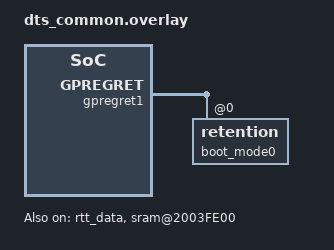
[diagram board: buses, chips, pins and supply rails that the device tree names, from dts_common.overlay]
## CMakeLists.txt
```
# @copyright Ruuvi Innovations Ltd.
# SPDX-License-Identifier: BSD-3-Clause

cmake_minimum_required(VERSION 3.20.0)

list(APPEND ZEPHYR_EXTRA_MODULES ${CMAKE_CURRENT_SOURCE_DIR}/../drivers)

find_package(Zephyr REQUIRED HINTS $ENV{ZEPHYR_BASE})
project(ruuvi.fw_loader)

# Find the directory containing <module_name>.cmake by walking up:
#   <this>/cmake/modules → parent/cmake/modules → grandparent/cmake/modules
#
# Usage:
#   find_module_dir_upwards(OUT_VAR git_describe_tag [REQUIRED] [SUBDIR "cmake/modules"])
#
# Notes:
# - module_name may be given with or without the .cmake suffix
# - If REQUIRED is passed and not found → FATAL_ERROR
# - On success, OUT_VAR is set to the *directory* path (normalized)
# - On failure (without REQUIRED), OUT_VAR is set to an empty string
function(find_module_dir_upwards OUT_VAR MODULE_NAME)
  set(options REQUIRED)
  set(oneValueArgs SUBDIR)
  cmake_parse_arguments(FMDU "${options}" "${oneValueArgs}" "" ${ARGN})

  if(MODULE_NAME MATCHES "\\.cmake$")
    set(_module_file "${MODULE_NAME}")
  else()
    set(_module_file "${MODULE_NAME}.cmake")
  endif()

  if(NOT FMDU_SUBDIR)
    set(FMDU_SUBDIR "cmake/modules")
  endif()

  # Build candidate search dirs: current → parent → grandparent
  set(_dirs)
  list(APPEND _dirs "${CMAKE_CURRENT_LIST_DIR}/${FMDU_SUBDIR}")

  get_filename_component(_p1 "${CMAKE_CURRENT_LIST_DIR}" DIRECTORY)
  list(APPEND _dirs "${_p1}/${FMDU_SUBDIR}")

  get_filename_component(_p2 "${_p1}" DIRECTORY)
  list(APPEND _dirs "${_p2}/${FMDU_SUBDIR}")

  # Find the directory containing the module file
  find_path(_hit_dir
    NAMES "${_module_file}"
    HINTS ${_dirs}
    NO_DEFAULT_PATH
  )

  if(NOT _hit_dir)
    if(FMDU_REQUIRED)
      message(FATAL_ERROR
        "Could not find '${_module_file}'. Searched:\n  ${_dirs}")
    endif()
    set(${OUT_VAR} "" PARENT_SCOPE)
    return()
  endif()

  # Normalize and return
  get_filename_component(_norm "${_hit_dir}" REALPATH)
  set(${OUT_VAR} "${_norm}" PARENT_SCOPE)
endfunction()

find_module_dir_upwards(MOD_DIR git_describe_tag.cmake REQUIRED SUBDIR "cmake/modules")

set_property(TARGET app_version_h PROPERTY APP_VERSION_CUSTOMIZATION
    "//#include;\\\"fwloader_version_extra.h\\\";"
)

include("${MOD_DIR}/git_describe_tag.cmake")

SET(TAG_PREFIX "fwloader_v")
SET(TAG_WORK_DIR "${CMAKE_CURRENT_SOURCE_DIR}/..")

set(GENERATED_VERSION "${CMAKE_CURRENT_SOURCE_DIR}/VERSION")

set(VH ${PROJECT_BINARY_DIR}/zephyr/include/generated/zephyr/app_version.h)
set(MYVH ${PROJECT_BINARY_DIR}/zephyr/include/generated/zephyr/app_version.override.h)

git_describe_tag(${TAG_WORK_DIR} ${TAG_PREFIX} FWLOADER_BUILD_VERSION)

add_custom_command(
  OUTPUT ${MYVH}
  COMMAND ${CMAKE_COMMAND} -DZEPHYR_BASE=${ZEPHYR_BASE}
    -DOUT_FILE=${MYVH}
    -DVERSION_TYPE=APP
    -DVERSION_FILE=${GENERATED_VERSION}
    -DAPP_VERSION_CUSTOMIZATION="$<TARGET_PROPERTY:app_version_h,APP_VERSION_CUSTOMIZATION>"
    -DAPP_BUILD_VERSION=${FWLOADER_BUILD_VERSION}
    -DCMAKE_MODULE_PATH=${MOD_DIR}
    -P ${ZEPHYR_BASE}/cmake/gen_version_h.cmake
  DEPENDS ${GENERATED_VERSION} ${git_dependency}
  COMMAND_EXPAND_LISTS
)

# stamp so we don't collide with Zephyr's rule that already outputs ${VH}
add_custom_command(
  OUTPUT ${MYVH}.stamp
  COMMAND ${CMAKE_COMMAND} -E copy ${MYVH} ${VH}
  COMMAND ${CMAKE_COMMAND} -E touch ${MYVH}.stamp
  DEPENDS version_h ${MYVH}             # ensure the default header exists first
)

add_custom_target(override_version_h ALL
  DEPENDS ${MYVH}.stamp)

# Make sure all generated headers wait for our override too
add_dependencies(zephyr_generated_headers override_version_h)
# Make the Zephyr 'app' target depend on the VERSION file and generted header
add_dependencies(app override_version_h)


target_sources(app PRIVATE
        src/fwloader_bluetooth.c
        src/fwloader_bluetooth.h
        src/fwloader_early_init.c
        src/fwloader_err_handler.c
        src/fwloader_ext_flash_power.c
        src/fwloader_ext_flash_power.h
        src/fwloader_fw_ver.c
        src/fwloader_fw_ver.h
        src/fwloader_button.c
        src/fwloader_button.h
        src/fwloader_button_cb.c
        src/fwloader_gpio_input.c
        src/fwloader_gpio_input.h
        src/fwloader_led.c
        src/fwloader_led.h
        src/fwloader_led_err.c
        src/fwloader_led_err.h
        src/fwloader_mcumgr_mgmt_callbacks.c
        src/fwloader_mcumgr_mgmt_callbacks.h
        src/fwloader_rgb_led.c
        src/fwloader_rgb_led.h
        src/fwloader_segger_rtt.c
        src/fwloader_segger_rtt.h
        src/fwloader_settings.c
        src/fwloader_settings.h
        src/fwloader_supercap.c
        src/fwloader_supercap.h
        src/fwloader_watchdog.c
        src/fwloader_watchdog.h
        src/fw_img_hw_rev.c
        src/fw_img_hw_rev.h
        src/shell_cmd_ruuvi.c
        src/main.c
)

target_include_directories(app PRIVATE
    ../include
    ../drivers/lp5810/include
    ${ZEPHYR_BASE}/kernel/include
    ${ARCH_DIR}/${ARCH}/include
)

target_link_options(app INTERFACE
        "-Wl,--wrap=sys_reboot"
)
```

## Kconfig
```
# Copyright (c) 2024, Ruuvi Innovations Ltd
# SPDX-License-Identifier: BSD-3-Clause

source "Kconfig" # Include Zephyr's main Kconfig
rsource "../drivers/Kconfig"

config RUUVI_AIR_BUTTON_DELAY_BEFORE_REBOOT
	int "Delay in ms before reboot after pressing the pinhole button"
	default 5000
	help
	  Delay in ms before reboot after pressing the pinhole button.

config RUUVI_AIR_FW_LOADER_UPLOADING_TIMEOUT_SEC
	int "Timeout in seconds for mcumgr upload activity"
	default 180
	help
	  Timeout in seconds for mcumgr upload activity.

choice RUUVI_AIR_PINHOLE_LED
    prompt "Configure pinhole Red/Green LEDs mode"
    default RUUVI_AIR_PINHOLE_LED_PWM
    help
      Select pinhole LED mode for Ruuvi Air.

config RUUVI_AIR_PINHOLE_LED_GPIO
	bool "Use GPIO to control pinhole Red/Green LEDs"

config RUUVI_AIR_PINHOLE_LED_PWM
	bool "Use PWM to control pinhole Red/Green LEDs"

config RUUVI_AIR_PINHOLE_LED_NONE
	bool "Don't use pinhole Red/Green LEDs"

endchoice  # RUUVI_AIR_PINHOLE_LED

config RUUVI_AIR_PINHOLE_LED_PWM_PERIOD_NS
	int "Pinhole LED PWM period (ns)"
	default 20000
	depends on RUUVI_AIR_PINHOLE_LED_PWM
	help
	  PWM period for the bottom LED in nanoseconds.

config RUUVI_AIR_PINHOLE_LED_PWM_PULSE_WIDTH_NS
	int "Pinhole LED PWM pulse width (ns)"
	default 1000
	depends on RUUVI_AIR_PINHOLE_LED_PWM
	help
	  PWM pulse width for the bottom LED in nanoseconds.
```

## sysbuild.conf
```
SB_CONFIG_BOOTLOADER_MCUBOOT=y
SB_CONFIG_BOOT_SIGNATURE_TYPE_ECDSA_P256=y
SB_CONFIG_SECURE_BOOT_APPCORE=y

SB_CONFIG_MCUBOOT_MODE_FIRMWARE_UPDATER=y
```

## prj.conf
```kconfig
#
# @copyright Ruuvi Innovations Ltd
#
# SPDX-License-Identifier: BSD-3-Clause
#

CONFIG_KERNEL_BIN_NAME="ruuvi_air_fw_loader"

# Enable MCUmgr and dependencies.
CONFIG_NET_BUF=y
CONFIG_ZCBOR=y
CONFIG_CRC=y
CONFIG_MCUMGR=y
CONFIG_STREAM_FLASH=y

CONFIG_GPIO=y
CONFIG_PWM=y
CONFIG_I2C=y
CONFIG_LED=y
CONFIG_LP5810=y
CONFIG_LP5810_EXPONENTIAL_PWM=y

CONFIG_WATCHDOG=y
CONFIG_HWINFO=y
CONFIG_SETTINGS=y
CONFIG_SETTINGS_RUNTIME=y

CONFIG_FLASH=y
CONFIG_FLASH_MAP=y

# Enable the LittleFS file system.
CONFIG_FILE_SYSTEM=y
CONFIG_FILE_SYSTEM_LITTLEFS=y
CONFIG_FILE_SYSTEM_MKFS=y

# Some command handlers require a large stack.
CONFIG_SYSTEM_WORKQUEUE_STACK_SIZE=4096
CONFIG_BT_RX_STACK_SIZE=4096
CONFIG_MAIN_STACK_SIZE=4096
CONFIG_MPSL_WORK_STACK_SIZE=2048

# Ensure an MCUboot-compatible binary is generated.
CONFIG_BOOTLOADER_MCUBOOT=y
CONFIG_SECURE_BOOT=y

# Required by the `taskstat` command.
CONFIG_THREAD_MONITOR=n

# Enable the Shell mcumgr transport.
CONFIG_BASE64=y
CONFIG_CRC=y
CONFIG_SHELL=y
CONFIG_SHELL_BACKEND_SERIAL=n
CONFIG_MCUMGR_TRANSPORT_SHELL=y  # Enable MCUmgr shell command handler
CONFIG_SHELL_BACKEND_DUMMY=y     # Use dummy backend to capture shell output
CONFIG_MCUMGR_GRP_SHELL=y

# Support for taskstat command
CONFIG_MCUMGR_GRP_OS_TASKSTAT=n

# Enable statistics and statistic names.
CONFIG_STATS=n
CONFIG_STATS_NAMES=n

# Enable most core commands.
CONFIG_IMG_MANAGER=n
CONFIG_MCUMGR_GRP_IMG=y
CONFIG_MCUMGR_GRP_OS=y
CONFIG_STATS=y
CONFIG_MCUMGR_GRP_STAT=y

CONFIG_BT=y
CONFIG_BT_BROADCASTER=y
CONFIG_BT_DEVICE_NAME="RuuviAir"
CONFIG_BT_PERIPHERAL=y

CONFIG_BT_DIS=y
CONFIG_BT_DIS_STR_MAX=24
CONFIG_BT_DIS_SETTINGS=y
CONFIG_BT_DIS_MODEL="Ruuvi Air"
CONFIG_BT_DIS_MANUF="Ruuvi Innovations Ltd"
CONFIG_BT_DIS_PNP=n
CONFIG_BT_DIS_SERIAL_NUMBER=y
CONFIG_BT_DIS_SERIAL_NUMBER_STR="XX:XX:XX:XX:XX:XX:XX:XX"
CONFIG_BT_DIS_FW_REV=y
CONFIG_BT_DIS_HW_REV=y
CONFIG_BT_DIS_HW_REV_STR="Check PCB"

# Allow for large Bluetooth data packets.
CONFIG_BT_L2CAP_TX_MTU=498
CONFIG_BT_BUF_ACL_RX_SIZE=502
CONFIG_BT_BUF_ACL_TX_SIZE=502
CONFIG_BT_CTLR_DATA_LENGTH_MAX=251

# Enable the Bluetooth mcumgr transport (unauthenticated).
CONFIG_MCUMGR_TRANSPORT_BT=y
CONFIG_MCUMGR_TRANSPORT_BT_CONN_PARAM_CONTROL=y

# Enable the mcumgr Packet Reassembly feature over Bluetooth and its configuration dependencies.
# MCUmgr buffer size is optimized to fit one SMP packet divided into five Bluetooth Write Commands,
# transmitted with the maximum possible MTU value: 498 bytes.
CONFIG_MCUMGR_TRANSPORT_BT_REASSEMBLY=y
CONFIG_MCUMGR_TRANSPORT_NETBUF_SIZE=2475
CONFIG_MCUMGR_GRP_OS_MCUMGR_PARAMS=y
CONFIG_MCUMGR_TRANSPORT_WORKQUEUE_STACK_SIZE=6144

# Enable core commands.
CONFIG_MCUMGR_MGMT_NOTIFICATION_HOOKS=y
CONFIG_MCUMGR_GRP_OS=y
CONFIG_MCUMGR_GRP_OS_MCUMGR_PARAMS=y
CONFIG_MCUMGR_GRP_OS_BOOTLOADER_INFO=y
CONFIG_MCUMGR_GRP_OS_BOOTLOADER_INFO_HOOK=y
CONFIG_MCUMGR_GRP_OS_INFO=y
CONFIG_MCUMGR_GRP_OS_INFO_CUSTOM_HOOKS=y
# CONFIG_MCUMGR_GRP_OS_DATETIME=y
# CONFIG_MCUMGR_GRP_OS_DATETIME_MS=y
# CONFIG_MCUMGR_GRP_OS_DATETIME_HOOK=y
CONFIG_MCUMGR_GRP_OS_INFO_BUILD_DATE_TIME=n
CONFIG_MCUMGR_GRP_FS=y
CONFIG_MCUMGR_GRP_FS_FILE_ACCESS_HOOK=y
CONFIG_MCUMGR_SMP_COMMAND_STATUS_HOOKS=y

# Enable the storage erase command.
CONFIG_MCUMGR_GRP_ZBASIC=y
CONFIG_MCUMGR_GRP_ZBASIC_STORAGE_ERASE=y

CONFIG_RETAINED_MEM=y
CONFIG_RETENTION=y
CONFIG_RETENTION_BOOT_MODE=y
CONFIG_RETENTION_BOOTLOADER_INFO=y
CONFIG_RETENTION_BOOTLOADER_INFO_TYPE_MCUBOOT=y
CONFIG_RETENTION_BOOTLOADER_INFO_OUTPUT_SETTINGS=y

CONFIG_MCUBOOT_IMG_MANAGER=y
CONFIG_MCUBOOT_SHELL=y

# Disable Bluetooth ping support
CONFIG_BT_CTLR_LE_PING=n

# Disable shell commands that are not needed
CONFIG_CLOCK_CONTROL_NRF_SHELL=n
CONFIG_DEVICE_SHELL=n
CONFIG_DEVMEM_SHELL=n
CONFIG_FLASH_SHELL=n

# Enable logging
CONFIG_LOG=y
CONFIG_MCUBOOT_UTIL_LOG_LEVEL_INF=y
CONFIG_MCUMGR_GRP_IMG_LOG_LEVEL_INF=y
CONFIG_LOG_MAX_LEVEL=3
CONFIG_LOG_DEFAULT_LEVEL=3

CONFIG_LOG_MODE_DEFERRED=n
CONFIG_LOG_MODE_MINIMAL=n
CONFIG_LOG_MODE_IMMEDIATE=y
CONFIG_LOG_PROCESS_THREAD=n
CONFIG_LOG_BLOCK_IN_THREAD=n
CONFIG_LOG_PRINTK=y
CONFIG_PRINTK_SYNC=y
CONFIG_LOG_FUNC_NAME_PREFIX_ERR=y
CONFIG_LOG_FUNC_NAME_PREFIX_WRN=n
CONFIG_LOG_FUNC_NAME_PREFIX_INF=n
CONFIG_LOG_FUNC_NAME_PREFIX_DBG=y
CONFIG_LOG_BACKEND_SHOW_COLOR=y

# --- Enable UART ---
CONFIG_SERIAL=y           # Ensure Serial driver support is enabled (usually default)
CONFIG_UART_CONSOLE=y     # Enable UART as a potential console (usually default)
CONFIG_LOG_BACKEND_UART=y # Enable UART as a logging backend

# --- Enable RTT ---
CONFIG_USE_SEGGER_RTT=y
CONFIG_RTT_CONSOLE=y      # Enable RTT as a potential console
CONFIG_LOG_BACKEND_RTT=y  # Enable RTT as a logging backend

# Configure Segger RTT UpBuffer, with 184 additional bytes for other RTT data, in total it's 4096
CONFIG_SEGGER_RTT_BUFFER_SIZE_UP=3912
CONFIG_SEGGER_RTT_SECTION_CUSTOM=y
CONFIG_SEGGER_RTT_SECTION_CUSTOM_NAME="rtt_data"

CONFIG_EXCEPTION_DEBUG=n
CONFIG_EXTRA_EXCEPTION_INFO=n
CONFIG_FAULT_DUMP=2

CONFIG_ASSERT_VERBOSE=n
CONFIG_ASSERT_NO_FILE_INFO=n

#CONFIG_DEBUG=y
#CONFIG_DEBUG_INFO=y
#CONFIG_DEBUG_THREAD_INFO=y
#CONFIG_NO_OPTIMIZATIONS=y
#CONFIG_DEBUG_OPTIMIZATIONS=y
CONFIG_SIZE_OPTIMIZATIONS=y

CONFIG_REBOOT=y
CONFIG_POWEROFF=y


CONFIG_LINKER_ORPHAN_SECTION_WARN=y
CONFIG_LINKER_SORT_BY_ALIGNMENT=y
CONFIG_ASSERT=n

CONFIG_SYSTEM_WORKQUEUE_STACK_SIZE=4096
CONFIG_BT_RX_STACK_SIZE=4096
CONFIG_MAIN_STACK_SIZE=3072
CONFIG_MPSL_WORK_STACK_SIZE=3072
CONFIG_MCUMGR_TRANSPORT_WORKQUEUE_STACK_SIZE=6144

CONFIG_PM_EXTERNAL_FLASH_MCUBOOT_SECONDARY=y

CONFIG_FPROTECT=y
# CONFIG_FPROTECT_APP=y

CONFIG_UPDATEABLE_IMAGE_NUMBER=2
CONFIG_MCUMGR_GRP_IMG_UPDATABLE_IMAGE_NUMBER=2

CONFIG_IMG_ENABLE_IMAGE_CHECK=y
CONFIG_IMG_ERASE_PROGRESSIVELY=y

CONFIG_GPIO_INIT_PRIORITY=40
CONFIG_NORDIC_QSPI_NOR_INIT_PRIORITY=45

CONFIG_NCS_APPLICATION_BOOT_BANNER_STRING="RuuviAir FwLoader"

CONFIG_FW_INFO=y

CONFIG_RUUVI_AIR_PINHOLE_LED_PWM=y
CONFIG_RUUVI_AIR_PINHOLE_LED_PWM_PERIOD_NS=20000
CONFIG_RUUVI_AIR_PINHOLE_LED_PWM_PULSE_WIDTH_NS=1000
```

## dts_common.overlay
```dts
/**
 * @copyright Ruuvi Innovations Ltd, license BSD-3-Clause.
 */

#include <zephyr/dt-bindings/led/led.h>

/* Path to lp5810.h must be relative to
   "ruuvi.air/dts" or
   "ruuvi.air/boards/nordic/nrf52840dk_ruuviair/dts".
*/
#include <../../../../drivers/lp5810/include/lp5810.h>

&gpregret1 {
	status = "okay";

	boot_mode0: boot_mode@0 {
		compatible = "zephyr,retention";
		status = "okay";
		reg = <0x0 0x1>;
	};
};

/ {
        /* Memory for Segger RTT buffers, must be the same for B0, MCUBoot, fw_loader and the main app */
	rtt_data: sram@20000000 {                         /* Label this node as 'shared_sram' */
		compatible = "zephyr,memory-region", "mmio-sram";
		reg = <0x20000000 DT_SIZE_K(4)>;                    /* Size 4 KiB */
		zephyr,memory-region = "rtt_data";                  /* Create a linker region named "rtt_data" */
		status = "okay";
	};
};

/ {
	sram@2003FE00 {
		compatible = "zephyr,memory-region", "mmio-sram";
		reg = <0x2003FE00 0x200>;
		zephyr,memory-region = "RetainedMem";
		status = "okay";

		retainedmem {
			compatible = "zephyr,retained-ram";
			status = "okay";
			#address-cells = <1>;
			#size-cells = <1>;

			boot_info0: boot_info@0 {
				compatible = "zephyr,retention";
				status = "okay";
				reg = <0x0 0x200>;
				prefix = [08 04];
				checksum = <1>;
			};
		};
	};

	chosen {
		zephyr,boot-mode = &boot_mode0;
		zephyr,bootloader-info = &boot_info0;
	};
};

/* Reduce SRAM0 usage by 0x200 bytes to account for non-init area */

&sram0 {
	reg = <0x20000000 0x3FE00>;
};

&i2c0 {
	DPS310@77 {
		status = "disabled";
	};

	OPT4060@44 {
		status = "disabled";
	};
};
```

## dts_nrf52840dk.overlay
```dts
/ {
	gpio_enable_sensors: gpio_enable_sensors {
		compatible = "power-switch";
		status = "okay";
		gpios = <&gpio0 11 (GPIO_ACTIVE_HIGH | GPIO_PULL_DOWN)>;
	};
};

/ {
	chosen {
			nordic,pm-ext-flash = &mx25r64;
	};
};

/ {
    aliases {
        button-pinhole = &button0;
        gpio-supercap-active = &button1;
        led-green = &led0;
        led-red = &led1;
    };
};
```

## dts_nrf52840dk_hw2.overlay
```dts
/**
 * @copyright Ruuvi Innovations Ltd, license BSD-3-Clause.
 */

&i2c0 {
	status = "okay";
	clock-frequency = <I2C_BITRATE_STANDARD>;

	rtc_pcf85263a: pcf85263a@51 {
		status = "disabled";
	};
};
```

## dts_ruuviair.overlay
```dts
/ {
	chosen {
			nordic,pm-ext-flash = &w25q128jv;
	};
};
```

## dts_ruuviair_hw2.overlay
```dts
/**
 * @copyright Ruuvi Innovations Ltd, license BSD-3-Clause.
 */

&i2c0 {
	status = "okay";
	clock-frequency = <I2C_BITRATE_STANDARD>;
	pcf85263a@51 {
		status = "disabled";
	};
};
```

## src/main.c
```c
/*
 * Copyright (c) 2012-2014 Wind River Systems, Inc.
 * Copyright (c) 2020 Prevas A/S
 *
 * SPDX-License-Identifier: Apache-2.0
 */

#include <zephyr/kernel.h>
#include <zephyr/device.h>
#include <zephyr/sys/reboot.h>
#include <zephyr/stats/stats.h>
#include <zephyr/usb/usb_device.h>
#include <zephyr/sys/__assert.h>

#ifdef CONFIG_MCUMGR_GRP_FS
#include <zephyr/fs/fs.h>
#include <zephyr/fs/littlefs.h>
#endif
#ifdef CONFIG_MCUMGR_GRP_STAT
#include <zephyr/mgmt/mcumgr/grp/stat_mgmt/stat_mgmt.h>
#endif
#include "fwloader_segger_rtt.h"
#include "fwloader_button_cb.h"
#include "fwloader_button.h"
#include "fwloader_led.h"
#include "fwloader_bluetooth.h"
#include "fwloader_watchdog.h"
#include "fwloader_mcumgr_mgmt_callbacks.h"
#include "fwloader_settings.h"
#include "fwloader_fw_ver.h"
#include "fwloader_rgb_led.h"
#include "ruuvi_fw_update.h"
#include "zephyr_api.h"

LOG_MODULE_REGISTER(fw_loader, LOG_LEVEL_INF);

#if !defined(CONFIG_DEBUG)
#define CONFIG_DEBUG 0
#endif

#define STORAGE_PARTITION_LABEL storage_partition
#define STORAGE_PARTITION_ID    FIXED_PARTITION_ID(STORAGE_PARTITION_LABEL)

#define HIST_LOG_PARTITION_LABEL hist_storage
#define HIST_LOG_PARTITION_SIZE  PM_HIST_STORAGE_SIZE

#define HIST_LOG_FLASH_AREA_ID FLASH_AREA_ID(HIST_LOG_PARTITION_LABEL)

#define FWLOADER_RGB_LED_CURRENT_RED   (FWLOADER_RGB_LED_CURRENT_MIN)
#define FWLOADER_RGB_LED_CURRENT_GREEN (FWLOADER_RGB_LED_CURRENT_MIN)
#define FWLOADER_RGB_LED_CURRENT_BLUE  (128U)

#define FWLOADER_RGB_LED_PWM_RED   (FWLOADER_RGB_LED_PWM_MIN)
#define FWLOADER_RGB_LED_PWM_GREEN (FWLOADER_RGB_LED_PWM_MIN)
#define FWLOADER_RGB_LED_PWM_BLUE  (FWLOADER_RGB_LED_PWM_MAX)

#define FWLOADER_RGB_LED_BLINK_INTERVAL_MS (1000)
#define FWLOADER_RGB_LED_BLINK_DURATION_MS (50)

#define FWLOADER_RGB_ANIMATION_BLINKING_WHITE_CURRENT_RED   (115U)
#define FWLOADER_RGB_ANIMATION_BLINKING_WHITE_CURRENT_GREEN (36U)
#define FWLOADER_RGB_ANIMATION_BLINKING_WHITE_CURRENT_BLUE  (53U)

static bool    g_flag_reboot_requested = false;
static k_tid_t g_main_thread_id;

/* Define an example stats group; approximates seconds since boot. */
STATS_SECT_START(smp_svr_stats)
STATS_SECT_ENTRY(ticks)
STATS_SECT_END;

/* Assign a name to the `ticks` stat. */
STATS_NAME_START(smp_svr_stats)
STATS_NAME(smp_svr_stats, ticks)
STATS_NAME_END(smp_svr_stats);

/* Define an instance of the stats group. */
STATS_SECT_DECL(smp_svr_stats) smp_svr_stats;

#ifdef CONFIG_MCUMGR_GRP_FS
FS_LITTLEFS_DECLARE_DEFAULT_CONFIG(storage);
static struct fs_mount_t btldr_fs_storage_mnt = {
    .type        = FS_LITTLEFS,
    .fs_data     = &storage,
    .storage_dev = (void*)FIXED_PARTITION_ID(littlefs_storage1),
    .mnt_point   = RUUVI_FW_UPDATE_MOUNT_POINT,
};

static struct fs_mount_t* const g_mountpoint = &btldr_fs_storage_mnt;
#endif

#ifdef CONFIG_MCUMGR_GRP_FS
static bool
btldr_fs_mount(void)
{
    zephyr_api_ret_t rc = fs_mkfs(FS_LITTLEFS, FIXED_PARTITION_ID(littlefs_storage1), NULL, 0);
    if (0 != rc)
    {
        LOG_ERR("FAIL: mkfs fa_id %d: res=%d", FIXED_PARTITION_ID(littlefs_storage1), rc);
        return false;
    }

    rc = fs_mount(g_mountpoint);
    if (0 != rc)
    {
        LOG_ERR(
            "FAIL: mount id %" PRIuPTR " at %s: %d",
            (uintptr_t)g_mountpoint->storage_dev,
            g_mountpoint->mnt_point,
            rc);
        return false;
    }
    LOG_INF("%s mounted successfully", g_mountpoint->mnt_point);

    struct fs_statvfs sbuf = { 0 };
    rc                     = fs_statvfs(g_mountpoint->mnt_point, &sbuf);
    if (rc < 0)
    {
        LOG_ERR("FAIL: statvfs: %d", rc);
        return false;
    }
    LOG_INF(
        "%s: bsize = %lu ; frsize = %lu ; blocks = %lu ; bfree = %lu",
        g_mountpoint->mnt_point,
        sbuf.f_bsize,
        sbuf.f_frsize,
        sbuf.f_blocks,
        sbuf.f_bfree);
    return true;
}
#endif

static bool
app_fs_is_file_exist(const char* const p_abs_path)
{
    static struct fs_dirent g_fs_dir_entry;
    const int32_t           rc = fs_stat(p_abs_path, &g_fs_dir_entry);
    if (-ENOENT == rc)
    {
        return false;
    }
    if (0 != rc)
    {
        return false;
    }
    if (FS_DIR_ENTRY_FILE != g_fs_dir_entry.type)
    {
        return false;
    }
    return true;
}

/**
 * Declare the symbol pointing to the former implementation of sys_reboot function
 */
extern void
__real_sys_reboot(int type); // NOSONAR

int
main(void)
{
    g_main_thread_id = k_current_get();

    fwloader_fw_ver_init();

    fwloader_segger_rtt_check_data_location_and_size();

    fwloader_led_late_init_pwm();

    if (!fwloader_settings_init())
    {
        LOG_ERR("fwloader_settings_init failed");
    }

#ifdef CONFIG_MCUMGR_GRP_FS
    btldr_fs_mount();
#endif

    if (!fwloader_watchdog_start())
    {
        LOG_ERR("Failed to initialize watchdog");
    }

    zephyr_api_ret_t rc = STATS_INIT_AND_REG(smp_svr_stats, STATS_SIZE_32, "smp_svr_stats");
    if (rc < 0)
    {
        LOG_ERR("Error initializing stats system [%d]", rc);
    }

    /* Register the built-in mcumgr command handlers. */
#ifdef CONFIG_MCUMGR_TRANSPORT_BT
    LOG_INF("fw_loader: start_smp_bluetooth_adverts");
    start_smp_bluetooth_adverts();
#endif
    fwloader_mcumgr_mgmt_callbacks_init(btldr_fs_storage_mnt.mnt_point);

    fwloader_led_lock();
    if (!fwloader_button_is_pressed())
    {
        fwloader_led_red_on();
    }
    fwloader_led_unlock();

    /* The system work queue handles all incoming mcumgr requests.  Let the
     * main thread idle while the mcumgr server runs.
     */
    uint32_t uploading_timeout_cnt = 0;
    while (!g_flag_reboot_requested)
    {
        if (!fwloader_button_is_pressed())
        {
            fwloader_watchdog_feed();
        }

        if (fwloader_bt_is_connected())
        {
            if (fwloader_mcumgr_mgmt_callbacks_is_uploading_in_progress())
            {
                uploading_timeout_cnt = 0;
            }
            else
            {
                uploading_timeout_cnt += 1;
            }
            LOG_INF("Uploading is in progress, timeout cnt: %d", uploading_timeout_cnt);
        }
        else
        {
            uploading_timeout_cnt += 1;
            LOG_INF("Uploading is not in progress, timeout cnt: %d", uploading_timeout_cnt);
        }
        if (uploading_timeout_cnt >= CONFIG_RUUVI_AIR_FW_LOADER_UPLOADING_TIMEOUT_SEC)
        {
            LOG_WRN("No upload activity for %d seconds, rebooting", CONFIG_RUUVI_AIR_FW_LOADER_UPLOADING_TIMEOUT_SEC);
            sys_reboot(SYS_REBOOT_COLD);
        }

        if (fwloader_rgb_led_is_lp5810_ready())
        {
            const fwloader_rgb_led_currents_t rgb_led_currents = {
                .current_red   = FWLOADER_RGB_LED_CURRENT_RED,
                .current_green = FWLOADER_RGB_LED_CURRENT_GREEN,
                .current_blue  = FWLOADER_RGB_LED_CURRENT_BLUE,
            };
            fwloader_rgb_led_check_and_reinit_if_needed();
            fwloader_rgb_led_set_raw_currents_and_pwms(
                &rgb_led_currents,
                &(fwloader_rgb_led_pwms_t) {
                    .pwm_red   = FWLOADER_RGB_LED_PWM_RED,
                    .pwm_green = FWLOADER_RGB_LED_PWM_GREEN,
                    .pwm_blue  = FWLOADER_RGB_LED_PWM_BLUE,
                });
            k_sleep(K_MSEC(FWLOADER_RGB_LED_BLINK_DURATION_MS));

            fwloader_rgb_led_set_raw_currents_and_pwms(
                &rgb_led_currents,
                &(fwloader_rgb_led_pwms_t) {
                    .pwm_red   = FWLOADER_RGB_LED_PWM_MIN,
                    .pwm_green = FWLOADER_RGB_LED_PWM_MIN,
                    .pwm_blue  = FWLOADER_RGB_LED_PWM_MIN,
                });
            k_sleep(K_MSEC(FWLOADER_RGB_LED_BLINK_INTERVAL_MS - FWLOADER_RGB_LED_BLINK_DURATION_MS));
        }
        else
        {
            k_sleep(K_MSEC(FWLOADER_RGB_LED_BLINK_INTERVAL_MS));
        }

        STATS_INC(smp_svr_stats, ticks);
    }
    sys_reboot(SYS_REBOOT_COLD);
}

/**
 * Redefine sys_reboot function to print a message before actually restarting
 */
void
__wrap_sys_reboot(int type) // NOSONAR
{
    if (k_current_get() == g_main_thread_id)
    {
        LOG_WRN("Reboot requested from main thread");
        LOG_WRN("Turning off LED before reboot");
        if (fwloader_rgb_led_is_lp5810_ready())
        {
            fwloader_rgb_led_set_raw_currents_and_pwms(
                &(fwloader_rgb_led_currents_t) { 0, 0, 0 },
                &(fwloader_rgb_led_pwms_t) { 0, 0, 0 });
        }
        bool flag_updates_available = false;
        if (app_fs_is_file_exist(RUUVI_FW_UPDATE_MOUNT_POINT "/" RUUVI_FW_MCUBOOT0_FILE_NAME))
        {
            flag_updates_available = true;
        }
        if (app_fs_is_file_exist(RUUVI_FW_UPDATE_MOUNT_POINT "/" RUUVI_FW_MCUBOOT1_FILE_NAME))
        {
            flag_updates_available = true;
        }
        if (app_fs_is_file_exist(RUUVI_FW_UPDATE_MOUNT_POINT "/" RUUVI_FW_LOADER_FILE_NAME))
        {
            flag_updates_available = true;
        }
        if (app_fs_is_file_exist(RUUVI_FW_UPDATE_MOUNT_POINT "/" RUUVI_FW_APP_FILE_NAME))
        {
            flag_updates_available = true;
        }
        if (flag_updates_available)
        {
            LOG_WRN("There are pending firmware updates, indicating this with RGB LED");
            if (fwloader_rgb_led_is_lp5810_ready())
            {
                fwloader_rgb_led_turn_on_animation_blinking_white(&(fwloader_rgb_led_currents_t) {
                    .current_red   = FWLOADER_RGB_ANIMATION_BLINKING_WHITE_CURRENT_RED,
                    .current_green = FWLOADER_RGB_ANIMATION_BLINKING_WHITE_CURRENT_GREEN,
                    .current_blue  = FWLOADER_RGB_ANIMATION_BLINKING_WHITE_CURRENT_BLUE,
                });
            }
        }
        LOG_WRN("Rebooting...");
        k_msleep(25); // NOSONAR: Give some time to print log message

        /* Call the former implementation to actually restart the board */
#if CONFIG_DEBUG || !IS_ENABLED(CONFIG_WATCHDOG)
        __real_sys_reboot(SYS_REBOOT_COLD);
#else
        fwloader_watchdog_force_trigger();
#endif
    }
    else
    {
        LOG_WRN("Reboot requested from thread id %p", (void*)k_current_get());
        g_flag_reboot_requested = true;
        while (1)
        {
            k_msleep(MSEC_PER_SEC);
        }
    }
}
```

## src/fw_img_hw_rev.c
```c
/**
 * @copyright Ruuvi Innovations Ltd, license BSD-3-Clause.
 */

#if defined(CONFIG_BOOTLOADER_MCUBOOT)
#include "fw_img_hw_rev.h"
#include <zephyr/fs/fs.h>
#include <zephyr/storage/flash_map.h>
#include <bootutil/bootutil_public.h>
#include <fw_info.h>
#include <zephyr/logging/log.h>
#include "zephyr_api.h"

LOG_MODULE_DECLARE(fw_loader, LOG_LEVEL_INF);

#if !defined(BITS_PER_BYTE)
#define BITS_PER_BYTE (8U)
#else
_Static_assert(BITS_PER_BYTE == 8U, "BITS_PER_BYTE != 8"); // NOSONAR
#endif

#define U32_BYTE3_SHIFT 24U
#define U32_BYTE2_SHIFT 16U
#define U32_BYTE1_SHIFT 8U
#define U32_BYTE0_SHIFT 0U

static inline uint32_t
u32_from_bytes_be(const uint8_t* const p_buf)
{
    uint32_t res = 0;
    for (uint32_t i = 0; i < sizeof(uint32_t); ++i)
    {
        res |= ((uint32_t)p_buf[i] << (U32_BYTE3_SHIFT - (i * BITS_PER_BYTE)));
    }
    return res;
}

static bool
find_tlvs_in_flash_area(
    const struct flash_area* const p_fa,
    const uint16_t                 magic,
    size_t                         start_offset,
    size_t* const                  p_tlvs_start_off,
    size_t* const                  p_tlvs_end_off)
{
    struct image_tlv_info tlv_info = { 0 };

    zephyr_api_ret_t rc = flash_area_read(p_fa, start_offset, &tlv_info, sizeof(tlv_info));
    if (0 != rc)
    {
        LOG_ERR("Failed to read TLV info from flash area %d, rc=%d", p_fa->fa_id, rc);
        return false;
    }

    if (tlv_info.it_magic != magic)
    {
        /* No TLVs. */
        LOG_ERR("TLVs with magic 0x%04x not found in flash area %d", magic, p_fa->fa_id);
        return false;
    }

    *p_tlvs_start_off = start_offset + sizeof(tlv_info);
    *p_tlvs_end_off   = *p_tlvs_start_off + tlv_info.it_tlv_tot;

    return true;
}

static bool
find_tlvs_in_file(
    struct fs_file_t* const p_file,
    const uint16_t          magic,
    size_t                  start_offset,
    size_t* const           p_tlvs_start_off,
    size_t* const           p_tlvs_end_off)
{
    struct image_tlv_info tlv_info = { 0 };

    zephyr_api_ret_t rc = fs_seek(p_file, start_offset, FS_SEEK_SET);
    if (0 != rc)
    {
        LOG_ERR("Failed to seek to the beginning of the image TLVs, rc=%d", rc);
        return false;
    }
    rc = fs_read(p_file, &tlv_info, sizeof(tlv_info));
    if (rc < 0)
    {
        LOG_ERR("Failed to read TLV info, rc=%d", rc);
        return false;
    }

    if (tlv_info.it_magic != magic)
    {
        /* No TLVs. */
        LOG_ERR("TLVs with magic 0x%04x not found", magic);
        return false;
    }

    *p_tlvs_start_off = start_offset + sizeof(tlv_info);
    *p_tlvs_end_off   = *p_tlvs_start_off + tlv_info.it_tlv_tot;

    return true;
}

static bool
fw_img_hw_rev_handle_tlv_hw_rev_in_flash_area(
    const struct image_tlv* const p_tlv,
    const fa_id_t                 fa_id,
    const struct flash_area*      p_fa,
    const size_t                  data_off,
    fw_image_hw_rev_t* const      p_hw_rev)
{
    if (IMAGE_TLV_RUUVI_HW_REV_ID == p_tlv->it_type)
    {
        if (p_tlv->it_len != sizeof(p_hw_rev->hw_rev_num))
        {
            LOG_ERR(
                "Invalid Ruuvi HW revision ID TLV length %u in flash area %d, expected %zu",
                p_tlv->it_len,
                fa_id,
                sizeof(p_hw_rev->hw_rev_num));
            return false;
        }
        if (0 != p_hw_rev->hw_rev_num)
        {
            LOG_ERR("Duplicate Ruuvi HW revision ID TLV in flash area %d", fa_id);
            return false;
        }

        uint8_t buf[sizeof(p_hw_rev->hw_rev_num)] = { 0 };

        const zephyr_api_ret_t rc = flash_area_read(p_fa, data_off + sizeof(*p_tlv), buf, sizeof(buf));
        if (0 != rc)
        {
            LOG_ERR("Failed to read TLV from flash area %d, rc=%d", fa_id, rc);
            return false;
        }
        p_hw_rev->hw_rev_num = u32_from_bytes_be(buf);
        LOG_DBG("Found Ruuvi HW revision ID TLV in flash area %d: ID=%" PRIu32, fa_id, p_hw_rev->hw_rev_num);
    }
    if (IMAGE_TLV_RUUVI_HW_REV_NAME == p_tlv->it_type)
    {
        if (p_tlv->it_len >= sizeof(p_hw_rev->hw_rev_name))
        {
            LOG_ERR(
                "Invalid Ruuvi HW revision name TLV length %u in flash area %d, expected %zu",
                p_tlv->it_len,
                fa_id,
                sizeof(p_hw_rev->hw_rev_name));
            return false;
        }
        if ('\0' != p_hw_rev->hw_rev_name[0])
        {
            LOG_ERR("Duplicate Ruuvi HW revision name TLV in flash area %d", fa_id);
            return false;
        }
        const zephyr_api_ret_t rc = flash_area_read(
            p_fa,
            data_off + sizeof(*p_tlv),
            p_hw_rev->hw_rev_name,
            p_tlv->it_len);
        if (0 != rc)
        {
            LOG_ERR("Failed to read TLV from flash area %d, rc=%d", fa_id, rc);
            return false;
        }
        p_hw_rev->hw_rev_name[p_tlv->it_len] = '\0';
        LOG_DBG("Found Ruuvi HW revision name TLV in flash area %d: name='%s'", fa_id, p_hw_rev->hw_rev_name);
    }
    return true;
}

bool
fw_img_hw_rev_find_in_flash_area_internal(
    const fa_id_t                  fa_id,
    const struct flash_area* const p_fa,
    fw_image_hw_rev_t* const       p_hw_rev)
{
    bool                is_success = false;
    struct image_header img_hdr    = { 0 };

    zephyr_api_ret_t rc = boot_image_load_header(p_fa, &img_hdr);
    if (0 != rc)
    {
        return false;
    }

    /* Read the image's TLVs. Try to find the protected TLVs. */
    size_t tlvs_start_off = 0;
    size_t tlvs_end_off   = 0;
    if (!find_tlvs_in_flash_area(
            p_fa,
            IMAGE_TLV_PROT_INFO_MAGIC,
            img_hdr.ih_hdr_size + img_hdr.ih_img_size,
            &tlvs_start_off,
            &tlvs_end_off))
    {
        return false;
    }

    size_t data_off = tlvs_start_off;

    struct image_tlv tlv = { 0 };
    while ((data_off + sizeof(tlv)) <= tlvs_end_off)
    {
        rc = flash_area_read(p_fa, data_off, &tlv, sizeof(tlv));
        if (0 != rc)
        {
            LOG_ERR("Failed to read TLV from flash area %d, rc=%d", fa_id, rc);
            break;
        }

        if (!fw_img_hw_rev_handle_tlv_hw_rev_in_flash_area(&tlv, fa_id, p_fa, data_off, p_hw_rev))
        {
            break;
        }

        if (('\0' != p_hw_rev->hw_rev_name[0]) && (0 != p_hw_rev->hw_rev_num))
        {
            /* Found both TLVs */
            LOG_DBG(
                "Found Ruuvi HW revision TLVs in flash area %d: ID=%" PRIu32 ", name='%s'",
                fa_id,
                p_hw_rev->hw_rev_num,
                p_hw_rev->hw_rev_name);
            is_success = true;
            break;
        }

        data_off += sizeof(tlv) + tlv.it_len;
    }
    if (!is_success)
    {
        LOG_ERR("Ruuvi HW revision TLVs not found in flash area %d", fa_id);
    }
    return is_success;
}

bool
fw_img_hw_rev_find_in_flash_area(const fa_id_t fa_id, fw_image_hw_rev_t* const p_hw_rev)
{
    const struct flash_area* p_fa = NULL;

    p_hw_rev->hw_rev_num     = 0;
    p_hw_rev->hw_rev_name[0] = '\0';

    int32_t rc = flash_area_open(fa_id, &p_fa);
    if (0 != rc)
    {
        LOG_ERR("Failed to open flash area %d, rc=%d", fa_id, rc);
        return false;
    }

    const bool is_success = fw_img_hw_rev_find_in_flash_area_internal(fa_id, p_fa, p_hw_rev);

    flash_area_close(p_fa);

    return is_success;
}

static bool
fw_img_hw_rev_handle_tlv_hw_rev_in_file(
    const struct image_tlv* const p_tlv,
    struct fs_file_t* const       p_file,
    fw_image_hw_rev_t* const      p_hw_rev)
{
    if (IMAGE_TLV_RUUVI_HW_REV_ID == p_tlv->it_type)
    {
        if (p_tlv->it_len != sizeof(p_hw_rev->hw_rev_num))
        {
            LOG_ERR(
                "Invalid Ruuvi HW revision ID TLV length %u, expected %zu",
                p_tlv->it_len,
                sizeof(p_hw_rev->hw_rev_num));
            return false;
        }
        if (0 != p_hw_rev->hw_rev_num)
        {
            LOG_ERR("Duplicate Ruuvi HW revision ID TLV");
            return false;
        }

        uint8_t buf[sizeof(p_hw_rev->hw_rev_num)] = { 0 };

        const zephyr_api_ret_t rc = fs_read(p_file, buf, sizeof(buf));
        if (rc < 0)
        {
            LOG_ERR("Failed to read TLV, rc=%d", rc);
            return false;
        }
        p_hw_rev->hw_rev_num = u32_from_bytes_be(buf);
        LOG_DBG("Found Ruuvi HW revision ID TLV: ID=%" PRIu32, p_hw_rev->hw_rev_num);
    }
    if (IMAGE_TLV_RUUVI_HW_REV_NAME == p_tlv->it_type)
    {
        if (p_tlv->it_len >= sizeof(p_hw_rev->hw_rev_name))
        {
            LOG_ERR(
                "Invalid Ruuvi HW revision name TLV length %u, expected %zu",
                p_tlv->it_len,
                sizeof(p_hw_rev->hw_rev_name));
            return false;
        }
        if ('\0' != p_hw_rev->hw_rev_name[0])
        {
            LOG_ERR("Duplicate Ruuvi HW revision name TLV");
            return false;
        }
        const zephyr_api_ret_t rc = fs_read(p_file, p_hw_rev->hw_rev_name, p_tlv->it_len);
        if (rc < 0)
        {
            LOG_ERR("Failed to read TLV, rc=%d", rc);
            return false;
        }
        p_hw_rev->hw_rev_name[p_tlv->it_len] = '\0';
        LOG_DBG("Found Ruuvi HW revision name TLV: name='%s'", p_hw_rev->hw_rev_name);
    }
    return true;
}

bool
fw_img_hw_rev_find_in_file(struct fs_file_t* const p_file, fw_image_hw_rev_t* const p_hw_rev)
{
    p_hw_rev->hw_rev_num     = 0;
    p_hw_rev->hw_rev_name[0] = '\0';

    struct image_header img_hdr = { 0 };
    zephyr_api_ret_t    rc      = fs_seek(p_file, 0, FS_SEEK_SET);
    if (0 != rc)
    {
        LOG_ERR("Failed to seek to the beginning of the file, rc=%d", rc);
        return false;
    }
    ssize_t len = fs_read(p_file, (void*)&img_hdr, sizeof(img_hdr));
    if (len < 0)
    {
        LOG_ERR("Failed reading image header, rc=%zd", len);
        return false;
    }
    if (len != sizeof(img_hdr))
    {
        LOG_ERR("Failed reading image header, len=%zd, expected len=%zu", len, sizeof(img_hdr));
        return false;
    }

    /* Read the image's TLVs. Try to find the protected TLVs. */
    size_t tlvs_start_off = 0;
    size_t tlvs_end_off   = 0;
    if (!find_tlvs_in_file(
            p_file,
            IMAGE_TLV_PROT_INFO_MAGIC,
            img_hdr.ih_hdr_size + img_hdr.ih_img_size,
            &tlvs_start_off,
            &tlvs_end_off))
    {
        return false;
    }

    size_t data_off = tlvs_start_off;

    struct image_tlv tlv = { 0 };
    while ((data_off + sizeof(tlv)) <= tlvs_end_off)
    {
        rc = fs_seek(p_file, data_off, FS_SEEK_SET);
        if (0 != rc)
        {
            LOG_ERR("Failed to seek to %zu, rc=%d", data_off, rc);
            return false;
        }
        rc = fs_read(p_file, &tlv, sizeof(tlv));
        if (rc < 0)
        {
            LOG_ERR("Failed to read TLV, rc=%d", rc);
            return false;
        }

        if (!fw_img_hw_rev_handle_tlv_hw_rev_in_file(&tlv, p_file, p_hw_rev))
        {
            return false;
        }

        if (('\0' != p_hw_rev->hw_rev_name[0]) && (0 != p_hw_rev->hw_rev_num))
        {
            LOG_DBG(
                "Found Ruuvi HW revision TLVs: ID=%" PRIu32 ", name='%s'",
                p_hw_rev->hw_rev_num,
                p_hw_rev->hw_rev_name);
            return true;
        }

        data_off += sizeof(tlv) + tlv.it_len;
    }
    LOG_ERR("Ruuvi HW revision TLVs not found");
    return false;
}

static bool
get_flash_area_address_and_size(const fa_id_t fa_id, uint32_t* const p_fa_addr, uint32_t* const p_fa_size)
{
    const struct flash_area* p_fa = NULL;
    int32_t                  rc   = flash_area_open(fa_id, &p_fa);
    if (0 != rc)
    {
        LOG_ERR("Failed to open flash area %d, rc=%d", fa_id, rc);
        return false;
    }
    *p_fa_addr = flash_area_get_off(p_fa);
    *p_fa_size = flash_area_get_size(p_fa);
    flash_area_close(p_fa);
    return true;
}

static bool
load_image_header(const fa_id_t fa_id, struct image_header* const p_img_hdr)
{
    bool is_success = false;

    const struct flash_area* p_fa = NULL;

    int32_t rc = flash_area_open(fa_id, &p_fa);
    if (0 != rc)
    {
        return false;
    }

    rc = boot_image_load_header(p_fa, p_img_hdr);
    if (0 != rc)
    {
        LOG_ERR("Failed to load image header for flash area %d, rc=%d", fa_id, rc);
    }
    else
    {
        is_success = true;
    }

    flash_area_close(p_fa);
    return is_success;
}

static fa_id_t
fa_id_from_fw_img_id(const fw_img_id_e fw_img_id)
{
    switch (fw_img_id)
    {
        case FW_IMG_ID_APP:
            return PM_ID(mcuboot_primary);
        case FW_IMG_ID_FWLOADER:
            return PM_ID(mcuboot_secondary);
        case FW_IMG_ID_MCUBOOT0:
            return PM_ID(s0);
        case FW_IMG_ID_MCUBOOT1:
            return PM_ID(s1);
        default:
            LOG_ERR("Invalid fw_img_id %d", fw_img_id);
            return FA_ID_INVALID;
    }
}

bool
fw_img_get_image_info(
    const fw_img_id_e           fw_img_id,
    struct image_version* const p_fw_ver,
    const struct fw_info**      p_p_fw_info,
    fw_image_hw_rev_t* const    p_hw_rev)
{
    uint32_t      fa_addr = 0;
    uint32_t      fa_size = 0;
    const fa_id_t fa_id   = fa_id_from_fw_img_id(fw_img_id);
    if (FA_ID_INVALID == fa_id)
    {
        return false;
    }
    if (!get_flash_area_address_and_size(fa_id, &fa_addr, &fa_size))
    {
        LOG_ERR("Failed to get flash area address and size for %d", fa_id);
        return false;
    }

    const struct fw_info* const p_fw_info = fw_info_find(fa_addr);
    if (NULL == p_fw_info)
    {
        LOG_ERR("Failed to find fw_info for flash area %d", fa_id);
        return false;
    }

    struct image_header img_hdr = { 0 };
    if (!load_image_header(fa_id, &img_hdr))
    {
        LOG_ERR("Failed to load image header for flash area %d", fa_id);
        return false;
    }
    fw_image_hw_rev_t hw_rev = { 0 };
    fw_img_hw_rev_find_in_flash_area(fa_id, &hw_rev);
    if (NULL != p_fw_ver)
    {
        *p_fw_ver = img_hdr.ih_ver;
    }
    if (NULL != p_p_fw_info)
    {
        *p_p_fw_info = p_fw_info;
    }
    if (NULL != p_hw_rev)
    {
        *p_hw_rev = hw_rev;
    }
    return true;
}

void
fw_img_print_image_info(
    const fw_img_id_e           fw_img_id,
    struct image_version* const p_fw_ver,
    fw_image_hw_rev_t* const    p_hw_rev)
{
    struct image_version  fw_ver    = { 0 };
    const struct fw_info* p_fw_info = NULL;
    fw_image_hw_rev_t     hw_rev    = { 0 };

    if (!fw_img_get_image_info(fw_img_id, &fw_ver, &p_fw_info, &hw_rev))
    {
        return;
    }

    LOG_INF(
        "### Flash area %d: Image version: v%u.%u.%u+%u, FwInfoVer: %u, HwRev: ID=%" PRIu32 ", name='%s' ###",
        fa_id_from_fw_img_id(fw_img_id),
        fw_ver.iv_major,
        fw_ver.iv_minor,
        fw_ver.iv_revision,
        fw_ver.iv_build_num,
        p_fw_info->version,
        hw_rev.hw_rev_num,
        hw_rev.hw_rev_name);
    if (NULL != p_fw_ver)
    {
        *p_fw_ver = fw_ver;
    }
    if (NULL != p_hw_rev)
    {
        *p_hw_rev = hw_rev;
    }
}

#endif // CONFIG_BOOTLOADER_MCUBOOT
```

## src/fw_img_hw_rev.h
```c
/**
 * @copyright Ruuvi Innovations Ltd, license BSD-3-Clause.
 */

#ifndef HW_IMG_HW_REV_H
#define HW_IMG_HW_REV_H

#if defined(CONFIG_BOOTLOADER_MCUBOOT)
#include <stdint.h>
#include <stdbool.h>
#include <stddef.h>
#include <zephyr/fs/fs.h>
#include <bootutil/image.h>
#endif // CONFIG_BOOTLOADER_MCUBOOT
#include "ruuvi_image_tlv.h"

#ifdef __cplusplus
extern "C" {
#endif

#if defined(CONFIG_BOOTLOADER_MCUBOOT)

#define FW_INFO_HW_REV_NAME_MAX_LEN 15

typedef struct fw_image_hw_rev_t
{
    uint32_t hw_rev_num;
    char     hw_rev_name[FW_INFO_HW_REV_NAME_MAX_LEN + 1];
} fw_image_hw_rev_t;

bool
fw_img_hw_rev_find_in_flash_area(const int fa_id, fw_image_hw_rev_t* const p_hw_rev);

bool
fw_img_hw_rev_find_in_file(struct fs_file_t* const p_file, fw_image_hw_rev_t* const p_hw_rev);

void
fw_img_print_image_info(const int fa_id, struct image_version* const p_fw_ver, fw_image_hw_rev_t* const p_hw_rev);

#endif // CONFIG_BOOTLOADER_MCUBOOT

#ifdef __cplusplus
}
#endif

#endif // HW_IMG_HW_REV_H
```

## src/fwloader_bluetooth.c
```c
/*
 * Copyright (c) 2012-2014 Wind River Systems, Inc.
 * Copyright (c) 2020 Prevas A/S
 *
 * SPDX-License-Identifier: Apache-2.0
 */

#include "fwloader_bluetooth.h"
#include <zephyr/bluetooth/bluetooth.h>
#include <zephyr/bluetooth/conn.h>
#include <zephyr/bluetooth/gatt.h>
#include <zephyr/mgmt/mcumgr/transport/smp_bt.h>
#include "sys_utils.h"
#include "fwloader_led.h"
#include "fwloader_button.h"
#include "zephyr_api.h"

#define LOG_LEVEL LOG_LEVEL_DBG
#include <zephyr/logging/log.h>
LOG_MODULE_REGISTER(smp_bt_sample);

static struct k_work advertise_work;

static char     g_bt_name[sizeof(CONFIG_BT_DEVICE_NAME) + 5];
static uint64_t g_ble_mac;
static bool     g_bt_is_connected;

#define NUM_RECORDS_IN_ADVS_PACKET     2
#define NUM_RECORDS_IN_SCAN_RSP_PACKET 1

static const struct bt_data ad[NUM_RECORDS_IN_ADVS_PACKET] = {
    BT_DATA_BYTES(BT_DATA_FLAGS, (BT_LE_AD_GENERAL | BT_LE_AD_NO_BREDR)),
    BT_DATA_BYTES(BT_DATA_UUID128_ALL, SMP_BT_SVC_UUID_VAL),
};

static const struct bt_data sd[NUM_RECORDS_IN_SCAN_RSP_PACKET] = {
    BT_DATA(BT_DATA_NAME_COMPLETE, g_bt_name, sizeof(g_bt_name)),
};

uint64_t
radio_address_get(void)
{
    uint64_t mac = 0;

    bt_addr_le_t addr[CONFIG_BT_ID_MAX];
    size_t       count = CONFIG_BT_ID_MAX;
    bt_id_get(addr, &count);

    if (count > 0)
    {
        for (uint32_t i = 0; i < BT_ADDR_SIZE; ++i)
        {
            mac |= (uint64_t)addr[0].a.val[i] << (i * BITS_PER_BYTE);
        }
    }
    (void)snprintf(
        g_bt_name,
        sizeof(g_bt_name),
        "%s %02X%02X",
        CONFIG_BT_DEVICE_NAME,
        addr[0].a.val[BYTE_IDX_1],
        addr[0].a.val[BYTE_IDX_0]);
    LOG_INF(
        "BLE MAC: %02x:%02x:%02x:%02x:%02x:%02x",
        (uint8_t)mac & BYTE_MASK,
        (uint8_t)((mac >> BYTE_SHIFT_1) & BYTE_MASK),
        (uint8_t)((mac >> BYTE_SHIFT_2) & BYTE_MASK),
        (uint8_t)((mac >> BYTE_SHIFT_3) & BYTE_MASK),
        (uint8_t)((mac >> BYTE_SHIFT_4) & BYTE_MASK),
        (uint8_t)((mac >> BYTE_SHIFT_5) & BYTE_MASK));
    return mac;
}

static void
advertise(__unused struct k_work* work)
{
    bt_le_adv_stop();

    const struct bt_le_adv_param adv_param = BT_LE_ADV_PARAM_INIT(
        BT_LE_ADV_OPT_CONNECTABLE | BT_LE_ADV_OPT_USE_IDENTITY,
        BT_GAP_ADV_FAST_INT_MIN_2,
        BT_GAP_ADV_FAST_INT_MAX_2,
        NULL);

    const zephyr_api_ret_t rc = bt_le_adv_start(&adv_param, ad, ARRAY_SIZE(ad), sd, ARRAY_SIZE(sd));
    if (0 != rc)
    {
        LOG_ERR("Advertising failed to start (rc %d)", rc);
        return;
    }

    LOG_INF("Advertising successfully started");
}

static void
connected(__unused struct bt_conn* conn, uint8_t err)
{
    if (0 != err)
    {
        LOG_ERR("Connection failed (err 0x%02x)", err);
    }
    else
    {
        LOG_INF("Connected");
        g_bt_is_connected = true;
        fwloader_led_lock();
        if (!fwloader_button_is_pressed())
        {
            fwloader_led_red_off();
            fwloader_led_green_on();
        }
        fwloader_led_unlock();
    }
}

static void
disconnected(__unused struct bt_conn* conn, uint8_t reason)
{
    LOG_INF("Disconnected (reason 0x%02x)", reason);
    g_bt_is_connected = false;
    fwloader_led_lock();
    if (!fwloader_button_is_pressed())
    {
        fwloader_led_green_off();
        fwloader_led_red_on();
    }
    fwloader_led_unlock();
    k_work_submit(&advertise_work);
}

BT_CONN_CB_DEFINE(conn_callbacks) = {
    .connected    = connected,
    .disconnected = disconnected,
};

static void
bt_ready(int err /* NOSONAR: Zephyr API */)
{
    LOG_INF("bt_ready");
    if (0 != err)
    {
        LOG_ERR("Bluetooth failed to initialise: %d", err);
    }
    else
    {
        g_ble_mac = radio_address_get();
        k_work_submit(&advertise_work);
    }
}

void
start_smp_bluetooth_adverts(void)
{
    LOG_INF("start_smp_bluetooth_adverts");

    k_work_init(&advertise_work, advertise);
    zephyr_api_ret_t rc = bt_enable(bt_ready);

    if (rc != 0)
    {
        LOG_ERR("Bluetooth enable failed: %d", rc);
    }
}

bool
fwloader_bt_is_connected(void)
{
    return g_bt_is_connected;
}
```

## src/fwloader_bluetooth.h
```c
/**
 * @copyright Ruuvi Innovations Ltd, license BSD-3-Clause.
 */

#ifndef FWLOADER_BLUETOOTH_H
#define FWLOADER_BLUETOOTH_H

#include <stdbool.h>

#ifdef __cplusplus
extern "C" {
#endif

void
start_smp_bluetooth_adverts(void);

bool
fwloader_bt_is_connected(void);

#ifdef __cplusplus
}
#endif

#endif // FWLOADER_BLUETOOTH_H
```

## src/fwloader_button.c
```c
/**
 * @copyright Ruuvi Innovations Ltd, license BSD-3-Clause.
 */

#include "fwloader_button.h"
#include <zephyr/devicetree.h>
#include <zephyr/drivers/gpio.h>
#include <zephyr/logging/log.h>
#include "fwloader_gpio_input.h"
#include "zephyr_api.h"

LOG_MODULE_DECLARE(fw_loader, LOG_LEVEL_INF);

#define BUTTON_0_NODE DT_ALIAS(button_pinhole)
#if DT_NODE_EXISTS(BUTTON_0_NODE) && DT_NODE_HAS_PROP(BUTTON_0_NODE, gpios)
static const struct gpio_dt_spec button0 = GPIO_DT_SPEC_GET(BUTTON_0_NODE, gpios);
#else
#error "Unsupported board: button0 devicetree node label is not defined"
#endif

static atomic_t g_flag_button_pressed = ATOMIC_INIT(0);

void
fwloader_button_init(
    struct gpio_callback* const   p_gpio_callback,
    const gpio_callback_handler_t cb_handler,
    const gpio_flags_t            int_flags)
{
    const struct gpio_dt_spec* const p_button = &button0;
    fwloader_gpio_input_init(p_button, GPIO_PULL_UP, p_gpio_callback, cb_handler, int_flags);
}

void
fwloader_button_int_disable(void)
{
    const struct gpio_dt_spec* const p_button = &button0;

    const zephyr_api_ret_t ret = gpio_pin_interrupt_configure_dt(p_button, GPIO_INT_DISABLE);
    if (0 != ret)
    {
        LOG_ERR("Failed to disable interrupt on %s pin %d, res=%d", p_button->port->name, p_button->pin, ret);
        return;
    }
}

void
fwloader_button_remove_cb(struct gpio_callback* const p_gpio_callback)
{
    const struct gpio_dt_spec* const p_button = &button0;

    gpio_remove_callback(p_button->port, p_gpio_callback);
}

void
fwloader_button_deinit(struct gpio_callback* const p_gpio_callback)
{
    const struct gpio_dt_spec* const p_button = &button0;

    if (!device_is_ready(p_button->port))
    {
        LOG_ERR("BUTTON0 is not ready");
        return;
    }

    fwloader_button_int_disable();

    if (NULL != p_gpio_callback)
    {
        fwloader_button_remove_cb(p_gpio_callback);
    }

    const int32_t ret = gpio_pin_configure_dt(p_button, GPIO_DISCONNECTED);
    if (0 != ret)
    {
        LOG_ERR("Failed to disconnect GPIO on %s pin %d, res=%d", p_button->port->name, p_button->pin, ret);
        return;
    }
}

bool
fwloader_button_get(void)
{
    zephyr_api_ret_t rc = gpio_pin_get_dt(&button0);
    if (rc < 0)
    {
        LOG_ERR("Failed to get BUTTON0 (rc: %d)", rc);
        return false;
    }
    return !!rc;
}

void
fwloader_button_set_pressed(void)
{
    atomic_set(&g_flag_button_pressed, 1);
}

bool
fwloader_button_is_pressed(void)
{
    if (0 != atomic_get(&g_flag_button_pressed))
    {
        return true;
    }
    return false;
}
```

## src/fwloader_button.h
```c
/**
 * @copyright Ruuvi Innovations Ltd, license BSD-3-Clause.
 */

#ifndef FWLOADER_BUTTON_H
#define FWLOADER_BUTTON_H

#include <stdbool.h>
#include <zephyr/drivers/gpio.h>

#ifdef __cplusplus
extern "C" {
#endif

void
fwloader_button_init(
    struct gpio_callback* const   p_gpio_callback,
    const gpio_callback_handler_t cb_handler,
    const gpio_flags_t            int_flags);

void
fwloader_button_deinit(struct gpio_callback* const p_gpio_callback);

void
fwloader_button_int_disable(void);

void
fwloader_button_remove_cb(struct gpio_callback* const p_gpio_callback);

bool
fwloader_button_get(void);

void
fwloader_button_set_pressed(void);

bool
fwloader_button_is_pressed(void);

#ifdef __cplusplus
}
#endif

#endif // FWLOADER_BUTTON_H
```

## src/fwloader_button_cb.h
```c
/**
 * @copyright Ruuvi Innovations Ltd, license BSD-3-Clause.
 */

#ifndef FWLOADER_BUTTON_CB_H
#define FWLOADER_BUTTON_CB_H

#ifdef __cplusplus
extern "C" {
#endif

void
fwloader_button_cb_init(void);

void
fwloader_button_cb_deinit(void);

#ifdef __cplusplus
}
#endif

#endif // FWLOADER_BUTTON_CB_H
```

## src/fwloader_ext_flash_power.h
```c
/**
 * @copyright Ruuvi Innovations Ltd, license BSD-3-Clause.
 */

#if !defined(FWLOADER_FLASH_POWER_H)
#define FWLOADER_FLASH_POWER_H

#ifdef __cplusplus
extern "C" {
#endif

void
fwloader_ext_flash_power_on(void);

void
fwloader_ext_flash_power_off(void);

#ifdef __cplusplus
}
#endif

#endif // FWLOADER_FLASH_POWER_H
```
